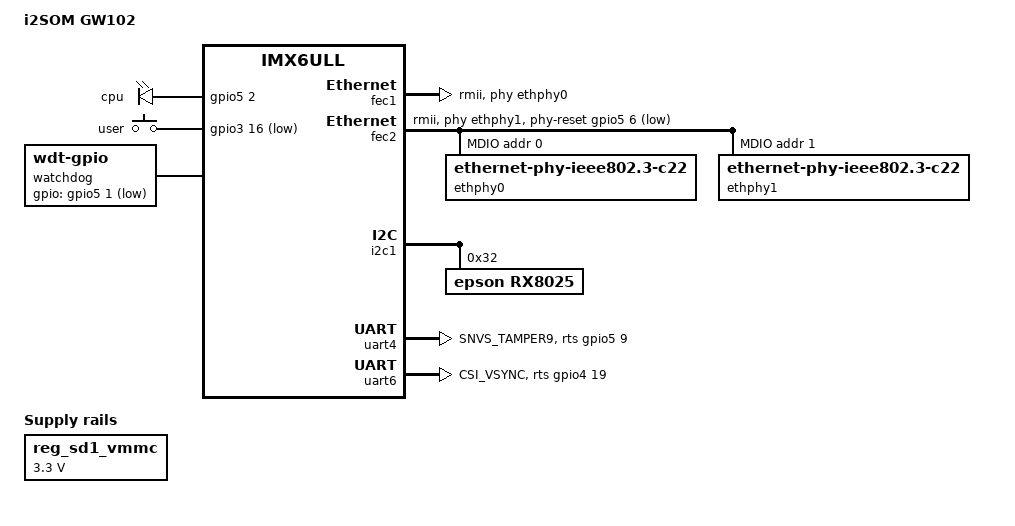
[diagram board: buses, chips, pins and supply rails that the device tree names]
/*
 * Copyright (C) 2017 i2SOM Team.
 *
 * This program is free software; you can redistribute it and/or modify
 * it under the terms of the GNU General Public License version 2 as
 * published by the Free Software Foundation.
 */

/ {
	model = "i2SOM GW102";
	compatible = "i2som,i2s6ullemmc", "i2som,i2s6ull", "i2som,i2s6ull14x14", "fsl,imx6ull";

	regulators {
		compatible = "simple-bus";
		#address-cells = <1>;
		#size-cells = <0>;

		reg_sd1_vmmc: regulator@1 {
			compatible = "regulator-fixed";
			regulator-name = "VSD_3V3";
			regulator-min-microvolt = <3300000>;
			regulator-max-microvolt = <3300000>;
		};
	};

	rfkill_lte {
		compatible = "rfkill-gpio";
		pinctrl-names = "default";
		pinctrl-0 = <&pinctrl_lte_pin>;
		reset-gpios = <&gpio1 18 GPIO_ACTIVE_LOW>;
		shutdown-gpios = <&gpio5 5 GPIO_ACTIVE_HIGH>;
		type = "wwan";
		status = "disabled";
	};

	rfkill_lora {
		compatible = "rfkill-gpio";
		shutdown-gpios = <&gpio1 9 GPIO_ACTIVE_HIGH>;
		reset-gpios = <&gpio5 4 GPIO_ACTIVE_LOW>;
		type = "wwan";
		status = "disabled";
	};

	rfkill_wifi {
		compatible = "rfkill-gpio";
		shutdown-gpios = <&gpio5 7 GPIO_ACTIVE_LOW>;
		type = "wlan";
		status = "disabled";
	};

	leds {
		compatible = "gpio-leds";
		pinctrl-names = "default";
		pinctrl-0 = <&pinctrl_leds>;

		cpu {
			label = "cpu";
			gpios = <&gpio5 2 GPIO_ACTIVE_HIGH>;
			linux,default-trigger = "heartbeat";
			default-state = "on";
		};
	};

	gpio-keys {
		compatible = "gpio-keys";
		pinctrl-names = "default";
		pinctrl-0 = <&pinctrl_gpio_keys>;

		user {
			label = "user";
			gpios = <&gpio3 16 GPIO_ACTIVE_LOW>;
			gpio-key,wakeup;
			linux,code = <KEY_CONFIG>;
		};
	};

	watchdog: watchdog {
		compatible = "linux,wdt-gpio";
		pinctrl-names = "default";
		gpios = <&gpio5 1 GPIO_ACTIVE_LOW>;
		hw_algo = "toggle";
		hw_margin_ms = <1000>;
		always-running;
	};
};

&iomuxc {
	pinctrl-names = "default";
	pinctrl-0 = <&pinctrl_hog_1>;
	imx6ul-i2s6ull {
		pinctrl_hog_1: hoggrp-1 {
			fsl,pins = <
				MX6UL_PAD_UART1_RTS_B__GPIO1_IO19	0x17059 /* SD1 CD */
				MX6UL_PAD_CSI_DATA03__GPIO4_IO24	0x1b0b0 /* GPIO Watchdog Enable */
			>;
		};

		pinctrl_lora_pin: loragrp {
			fsl,pins = <
				MX6UL_PAD_GPIO1_IO09__GPIO1_IO09	0x1b0b0 /* LoRa Power Enable */
			>;
		};


		pinctrl_lte_reset: ltereset {
			fsl,pins = <
				MX6UL_PAD_UART1_CTS_B__GPIO1_IO18	0x40017059  /* LTE Reset */
			>;
		};

		pinctrl_usb_otg1_id: usbotg1idgrp {
			fsl,pins = <
				MX6UL_PAD_GPIO1_IO00__ANATOP_OTG1_ID    0x17059
			>;
		};

		pinctrl_gpio_keys: gpiokeys {
			fsl,pins = <
				MX6UL_PAD_LCD_DATA11__GPIO3_IO16	0x1b0b0
			>;
		};

		pinctrl_uart3_rede: uart3_rede {
			fsl,pins = <
				MX6UL_PAD_LCD_CLK__GPIO3_IO00		0x4001b0b1
			>;
		};

		pinctrl_uart6_rede: uart6_rede {
			fsl,pins = <
				MX6UL_PAD_CSI_VSYNC__GPIO4_IO19     0x4001b0b1
			>;
		};

		pinctrl_uart8dce_alt1: uart8dcegrp_alt1 {
			fsl,pins = <
				MX6UL_PAD_LCD_DATA20__UART8_DCE_TX	0x1b0b1
				MX6UL_PAD_LCD_DATA21__UART8_DCE_RX	0x1b0b1
			>;
		};

		pinctrl_uart5dce_alt2: uart5dcegrp_alt2 {
			fsl,pins = <
				MX6UL_PAD_UART5_TX_DATA__UART5_DCE_TX	0x1b0b1
				MX6UL_PAD_UART5_RX_DATA__UART5_DCE_RX	0x1b0b1
			>;
		};

		pinctrl_ecspi1_cs_1: ecspi1_cs_grp-1 {
			fsl,pins = <
				MX6UL_PAD_CSI_DATA05__GPIO4_IO26        0x10b0
			>;
		};
	};
};

&iomuxc_snvs {
	pinctrl-names = "default_snvs";
        pinctrl-0 = <&pinctrl_hog_2>;
        imx6ul-i2s6ull {
		pinctrl_hog_2: hoggrp-2 {
                        fsl,pins = <
                                MX6ULL_PAD_SNVS_TAMPER1__GPIO5_IO01	0x1b0b0 /* GPIO Watchdog WDI */
                                /*MX6ULL_PAD_SNVS_TAMPER5__GPIO5_IO05	0x1b0b0  LTE Power Enable */
                                MX6ULL_PAD_SNVS_TAMPER6__GPIO5_IO06	0x1b0b0 /* ENET2 Reset */
                                MX6ULL_PAD_SNVS_TAMPER4__GPIO5_IO04	0x40017059 /* LoRa Reset */
                        >;
                };

		pinctrl_lte_pin: ltegrp {
			fsl,pins = <
                                MX6ULL_PAD_SNVS_TAMPER5__GPIO5_IO05	0x1b0b0 /* LTE Power Enable */
			>;
		};

		pinctrl_wifi_pin: wifigrp {
			fsl,pins = <
                                MX6ULL_PAD_SNVS_TAMPER7__GPIO5_IO07	0x1b0b0 /* WiFi Power Enable */
			>;
		};

		pinctrl_leds: ledgrp {
			fsl,pins = <
				MX6ULL_PAD_SNVS_TAMPER2__GPIO5_IO02	0x1b0b0
			>;
		};

		pinctrl_uart4_rede: uart4_rede {
			fsl,pins = <
				MX6ULL_PAD_SNVS_TAMPER9__GPIO5_IO09	0x4001b0b1
			>;
		};

		pinctrl_uart5_rede: uart5_rede {
			fsl,pins = <
				MX6ULL_PAD_SNVS_TAMPER8__GPIO5_IO08	0x4001b0b1
			>;
		};
	};
};

&fec1 {
	pinctrl-names = "default";
	pinctrl-0 = <&pinctrl_enet1>;
	phy-mode = "rmii";
	phy-handle = <&ethphy0>;
	status = "okay";
	/delete-node/ mdio;
};

&fec2 {
	pinctrl-names = "default";
	pinctrl-0 = <&pinctrl_enet2 &pinctrl_enet2_mdio>;
	phy-mode = "rmii";
	phy-handle = <&ethphy1>;
	phy-reset-gpios = <&gpio5 6 GPIO_ACTIVE_LOW>;
	phy-reset-duration = <50>;
    phy-reset-post-delay = <50>;
	// i2som,phy-reset-in-suspend;
	status = "okay";

	mdio {
		#address-cells = <1>;
		#size-cells = <0>;

		ethphy0: ethernet-phy@0 {
			compatible = "ethernet-phy-ieee802.3-c22";
			smsc,disable-energy-detect;
			reg = <0>;
			clocks = <&clks IMX6UL_CLK_ENET_REF>;
			clock-names = "rmii-ref";
		};

		ethphy1: ethernet-phy@1 {
			compatible = "ethernet-phy-ieee802.3-c22";
			smsc,disable-energy-detect;
			reg = <1>;
			clocks = <&clks IMX6UL_CLK_ENET2_REF>;
			clock-names = "rmii-ref";
		};
	};
};

&lcdif {
	status = "disabled";
};

&pwm1 {
	status = "disabled";
};

&tsc {
	status = "disabled";
};

&usbotg1 {
	dr_mode = "host";
	disable-over-current;
	status = "disabled";
};

&usbotg2 {
	dr_mode = "host";
	disable-over-current;
	status = "disabled";
};

&usbphy1 {
	tx-d-cal = <0x5>;
};

&usbphy2 {
	tx-d-cal = <0x5>;
};

&usdhc1 {
	pinctrl-names = "default";
	pinctrl-0 = <&pinctrl_usdhc1>;
	cd-gpios = <&gpio1 19 GPIO_ACTIVE_LOW>;
	keep-power-in-suspend;
	vmmc-supply = <&reg_sd1_vmmc>;
	no-1-8-v;
	status = "disabled";
};

&i2c1 {
	clock_frequency = <100000>;
	pinctrl-names = "default";
	pinctrl-0 = <&pinctrl_i2c1_alt2>;
	status = "okay";

	rx8025: rx8025@32 {
		compatible = "epson,rx8025";
		reg = <0x32>;
	};
};

&ecspi1 {
	pinctrl-names = "default";
	pinctrl-0 = <&pinctrl_ecspi1_1 &pinctrl_ecspi1_cs_1>;
	fsl,spi-num-chipselects = <1>;
	cs-gpios = <&gpio4 26 0>;
	status = "disabled";

	spidev@0 {
		compatible = "rohm,dh2228fv";
		reg = <0>;
		spi-max-frequency = <8000000>;
	};
};

&uart2 {
	pinctrl-names = "default";
	pinctrl-0 = <&pinctrl_uart2dce>;
};

&uart4 {
	pinctrl-names = "default";
	pinctrl-0 = <&pinctrl_uart4dce_alt1 &pinctrl_uart4_rede>;
	/*uart-has-rtscts;*/
	rts-gpios = <&gpio5 9 GPIO_ACTIVE_HIGH>;
    /* GPIO5_IO09 → DE+RE (active high = transmit) */
	// fsl,rs485-gpio-txen = <&gpio5 9 GPIO_ACTIVE_HIGH>;
	linux,rs485-enabled-at-boot-time;
};

&uart6 {
    pinctrl-names = "default";
    pinctrl-0 = <&pinctrl_uart6dce_alt1 &pinctrl_uart6_rede>;
	/*uart-has-rtscts;*/
	rts-gpios = <&gpio4 19 GPIO_ACTIVE_HIGH>;
	/*fsl,rs485-gpio-txen = <&gpio1 8 GPIO_ACTIVE_HIGH>;*/
    linux,rs485-enabled-at-boot-time;
};

&uart7 {
	pinctrl-names = "default";
	pinctrl-0 = <&pinctrl_uart7dce_alt1>;
};

